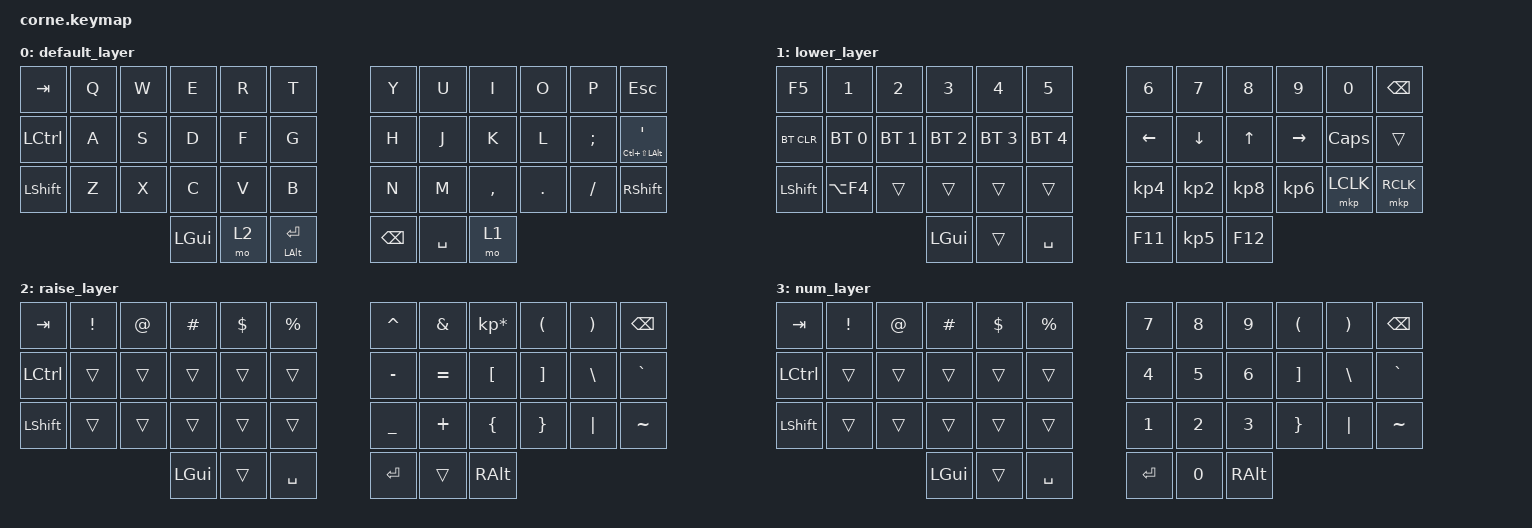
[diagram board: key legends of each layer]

/*
 * Copyright (c) 2020 The ZMK Contributors
 *
 * SPDX-License-Identifier: MIT
 */

#include <behaviors.dtsi>
#include <dt-bindings/zmk/keys.h>
#include <dt-bindings/zmk/bt.h>
#include <dt-bindings/led/led.h>
#include <dt-bindings/zmk/rgb.h>

&led_strip { chain-length = <42>; };
/ {
    behaviors {
        tp: tap_preferred {
            compatible = "zmk,behavior-hold-tap";
            label = "TAP_PREFERRED";
            #binding-cells = <2>;
            tapping-term-ms = <150>;
            quick-tap-ms = <0>;
            flavor = "tap-preferred";
            bindings = <&kp>, <&kp>;
        };
    };

    chosen { zmk,underglow = &led_strip; };

    keymap {
        compatible = "zmk,keymap";

        default_layer {
            // -----------------------------------------------------------------------------------------
            // | TAB  |  Q  |  W  |  E  |  R  |    T    |   |  Y  |  U   |  I  |  O  |  P  | ESC |
            // | CTRL |  A  |  S  |  D  |  F  |    G    |   |  H  |  J   |  K  |  L  |  ;  |  '   |
            // | SHFT |  Z  |  X  |  C  |  V  |    B    |   |  N  |  M   |  ,  |  .  |  /  | SHFT |
            //                    | GUI | RSE | ALT/ENT |   | BKSP | HYPER/SPC  | LWR |

            bindings = <
&kp TAB    &kp Q  &kp W  &kp E     &kp R  &kp T           &kp Y                           &kp U      &kp I      &kp O    &kp P     &kp ESC
&kp LCTRL  &kp A  &kp S  &kp D     &kp F  &kp G           &kp H                           &kp J      &kp K      &kp L    &kp SEMI  &tp LC(LS(LALT)) SQT
&kp LSHFT  &kp Z  &kp X  &kp C     &kp V  &kp B           &kp N                           &kp M      &kp COMMA  &kp DOT  &kp FSLH  &kp RSHFT
                         &kp LGUI  &mo 2  &tp LALT RET    &kp BSPC                        &kp SPACE  &mo 1
            >;
        };

        lower_layer {
// -----------------------------------------------------------------------------------------
// |  F5 |  1  |  2  |  3  |  4  |  5  |   |  6  |  7  |  8  |  9  |  0  | BKSP |
// | BTCLR| BT1 | BT2 | BT3 | BT4 | BT5 |   | LFT | DWN |  UP | RGT | caps |      |
// | SHFT |ALT+F4|    |     |     |     |   | LFT | DWN |  UP | RGT |  LCLK   |  RCLK    |
//                    | GUI |     | SPC |   | LCLK |     | RCLK |
                        bindings = <
   &kp F5    &kp N1       &kp N2       &kp N3       &kp N4       &kp N5         &kp N6   &kp N7   &kp N8 &kp N9    &kp N0 &kp BSPC
   &bt BT_CLR &bt BT_SEL 0 &bt BT_SEL 1 &bt BT_SEL 2 &bt BT_SEL 3 &bt BT_SEL 4   &kp LEFT &kp DOWN &kp UP &kp RIGHT &kp CAPSLOCK &trans
   &kp LSHFT  &kp LA(F4)   &trans       &trans      &trans      &trans        &kp KP_NUMBER_4   &kp KP_NUMBER_2  &kp KP_NUMBER_8 &kp KP_NUMBER_6    &mkp LCLK &mkp RCLK
                                    &kp LGUI     &trans       &kp SPACE      &kp F11 &kp KP_NUMBER_5   &kp F12
                        >;
                };

                raise_layer {
// -----------------------------------------------------------------------------------------
// |  TAB |  !  |  @  |  #  |  $  |  %  |   |  ^  |  &  |  *  |  (  |  )  | BKSP |
// | CTRL |     |     |     |     |     |   |  -  |  =  |  [  |  ]  |  \  |  `   |
// | SHFT |     |     |     |     |     |   |  _  |  +  |  {  |  }  | "|" |  ~   |
//                    | GUI |     | SPC |   | ENT |     | ALT |
                        bindings = <
   &kp  TAB  &kp EXCL &kp AT &kp HASH &kp DLLR &kp PRCNT   &kp CARET &kp AMPS  &kp KP_MULTIPLY &kp LPAR &kp RPAR &kp BSPC
   &kp LCTRL &trans   &trans &trans   &trans   &trans      &kp MINUS &kp EQUAL &kp LBKT        &kp RBKT &kp BSLH &kp GRAVE
   &kp LSHFT &trans   &trans &trans   &trans   &trans      &kp UNDER &kp PLUS  &kp LBRC        &kp RBRC &kp PIPE &kp TILDE
                             &kp LGUI &trans   &kp SPACE   &kp RET   &trans    &kp RALT
                        >;
                };
                num_layer {
// -----------------------------------------------------------------------------------------
// |  TAB |  !  |  @  |  #  |  $  |  %  |   |  7  |  8  |  9  |  (  |  )  | BKSP |
// | CTRL |     |     |     |     |     |   |  4  |  5  |  6  |  ]  |  \  |  `   |
// | SHFT |     |     |     |     |     |   |  1  |  2  |  3  |  }  | "|" |  ~   |
//                    | GUI |     | SPC |   | ENT |     | ALT |
                        bindings = <
   &kp  TAB  &kp EXCL &kp AT &kp HASH &kp DLLR &kp PRCNT   &kp N7 &kp N8  &kp N9 &kp LPAR &kp RPAR &kp BSPC
   &kp LCTRL &trans   &trans &trans   &trans   &trans      &kp N4 &kp N5 &kp N6        &kp RBKT &kp BSLH &kp GRAVE
   &kp LSHFT &trans   &trans &trans   &trans   &trans      &kp N1 &kp N2  &kp N3        &kp RBRC &kp PIPE &kp TILDE
                             &kp LGUI &trans   &kp SPACE   &kp RET   &kp N0    &kp RALT
                        >;
                };
    };
};
